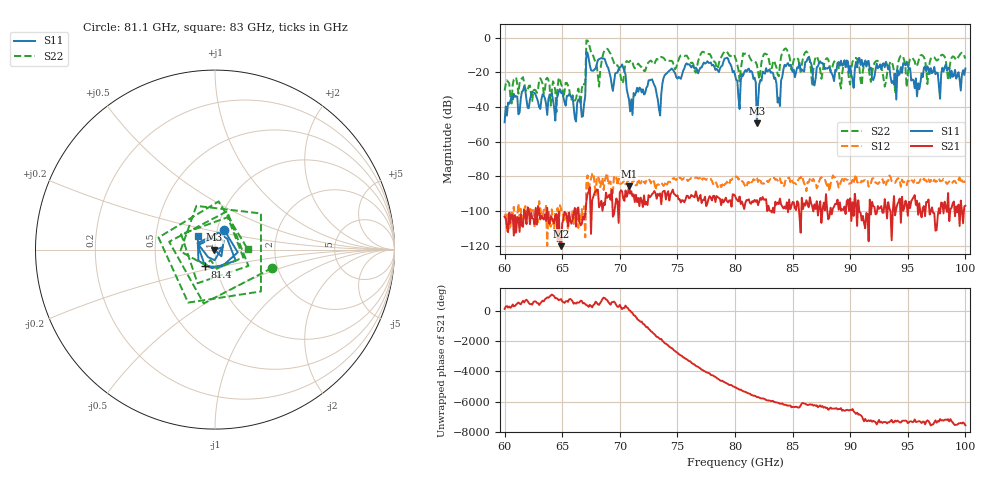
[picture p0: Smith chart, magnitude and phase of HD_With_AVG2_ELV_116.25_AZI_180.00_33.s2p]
! 11/25/2026 10:26:29 AM
! C:\ANRITSUVNA\TEMP\TEMP.S2P
! CHANNEL.1
! TR.MEASUREMENT
! RAW.DATA
# HZ S RI R 50.0
! FREQ.HZ  S11RE  S11IM  S21RE  S21IM  S12RE  S12IM  S22RE  S22IM
!; PortSelection: Port_12
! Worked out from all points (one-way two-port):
!   401 points, 60 GHz to 100 GHz, reference 50 ohm
!   highest |S21| = -85.64 dB at 70.8 GHz (marker M1); lowest = -120.1 dB at 64.9 GHz (marker M2)
!   lowest |S11| = -49.4 dB at 81.9 GHz (marker M3), VSWR 1.01, Z = 49.7 - j0.0173 ohm
!   |S11| at or under -10 dB: start of sweep to 67.09 GHz; 67.24 GHz to end of sweep
!   |S22| runs from -42.9 to -1.7 dB; largest |S21 - S12| = 0.00014
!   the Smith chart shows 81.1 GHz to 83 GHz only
!   S11 on the Smith chart (normalised r, x): 81.1 GHz: 1.08, +0.24; 81.4 GHz: 0.88, -0.17; 83 GHz: 0.82, +0.12
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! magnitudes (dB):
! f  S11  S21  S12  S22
! 60 GHz  -48.8  -103.2  -102.8  -30.5
! 61.6 GHz  -30.6  -109.0  -103.1  -22.8
! 64.9 GHz  -31.9  -120.1  -98.6  -26.8
! 66.7 GHz  -45.7  -107.4  -98.8  -29.5
! 67.3 GHz  -12.1  -88.6  -88.5  -3.2
! 68.1 GHz  -12.9  -87.7  -79.9  -22.5
! 68.9 GHz  -16.4  -92.3  -78.1  -6.5
! 70.2 GHz  -15.5  -88.6  -83.8  -26.4
! 70.8 GHz  -35.9  -85.6  -83.0  -14.1
! 72.7 GHz  -24.4  -91.3  -84.0  -13.3
! 73.4 GHz  -41.1  -91.0  -84.7  -12.6
! 74.4 GHz  -18.6  -90.2  -83.3  -13.4
! 80 GHz  -21.3  -91.1  -81.3  -11.0
! 81.1 GHz  -18.4  -93.7  -83.4  -9.5
! 81.4 GHz  -19.3  -95.7  -83.4  -13.0
! 81.9 GHz  -49.4  -93.6  -80.9  -15.7
! 83 GHz  -18.4  -99.5  -82.0  -14.8
! 83.8 GHz  -34.7  -95.9  -82.7  -22.4
! 84.5 GHz  -15.5  -94.8  -80.6  -7.0
! 86.7 GHz  -17.5  -97.1  -82.6  -27.9
! 93.4 GHz  -16.4  -98.1  -79.5  -15.6
! 100 GHz  -17.9  -96.8  -82.7  -12.1
